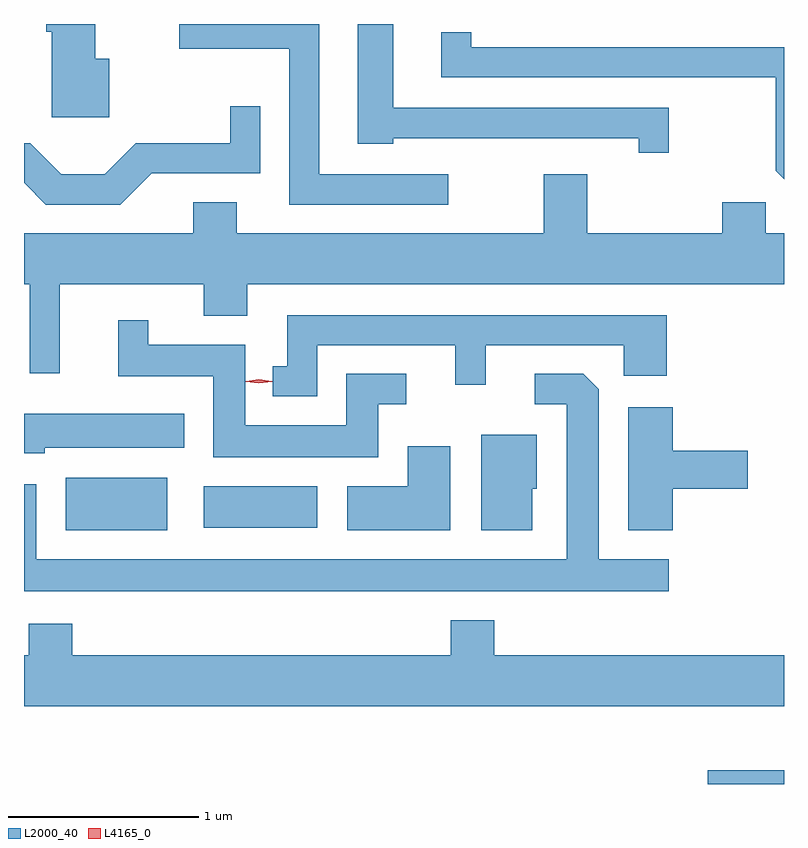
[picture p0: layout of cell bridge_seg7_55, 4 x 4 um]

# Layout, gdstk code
import gdstk
lib = gdstk.Library(unit=1e-6, precision=1e-09)
def R(c, l, rs):  # rectangles x0, y0, x1, y1
    for r in rs: c.add(gdstk.rectangle(r[:2], r[2:], *l))
def P(c, l, *ps):  # polygons
    for p in ps: c.add(gdstk.Polygon(p, *l))
L2000_40 = (2000, 40)
L4165_0 = (4165, 0)

bridge_seg7_55 = lib.new_cell('bridge_seg7_55')
R(bridge_seg7_55, L2000_40, [(1600.963,1751.646,1601.365,1751.719), (1597.586,1752.981,1598.119,1753.259), (1598.311,1752.996,1598.909,1753.214)])
P(bridge_seg7_55, L2000_40, [(1599.598,1754.854),(1598.919,1754.854),(1598.919,1755.646),(1598.181,1755.646),(1598.181,1755.516),(1598.761,1755.516),(1598.761,1754.696),(1599.598,1754.696)],
  [(1597.814,1755.464),(1597.739,1755.464),(1597.739,1755.646),(1597.481,1755.646),(1597.481,1755.606),(1597.511,1755.606),(1597.511,1755.156),(1597.814,1755.156)],
  [(1600.759,1755.204),(1599.309,1755.204),(1599.309,1755.646),(1599.121,1755.646),(1599.121,1755.016),(1599.309,1755.016),(1599.309,1755.046),(1600.601,1755.046),(1600.601,1754.968),(1600.759,1754.968)],
  [(1601.365,1755.524),(1599.719,1755.524),(1599.719,1755.603),(1599.561,1755.603),(1599.561,1755.366),(1601.321,1755.366),(1601.321,1754.874),(1601.365,1754.83)],
  [(1598.037,1754.861),(1598.609,1754.861),(1598.609,1755.213),(1598.451,1755.213),(1598.451,1755.019),(1597.954,1755.019),(1597.789,1754.854),(1597.562,1754.854),(1597.397,1755.019),(1597.365,1755.019),(1597.365,1754.81),(1597.479,1754.696),(1597.872,1754.696)],
  [(1601.365,1754.544),(1601.269,1754.544),(1601.269,1754.709),(1601.041,1754.709),(1601.041,1754.544),(1600.329,1754.544),(1600.329,1754.854),(1600.101,1754.854),(1600.101,1754.544),(1598.484,1754.544),(1598.484,1754.709),(1598.256,1754.709),(1598.256,1754.544),(1597.365,1754.544),(1597.365,1754.276),(1597.396,1754.276),(1597.396,1753.808),(1597.554,1753.808),(1597.554,1754.276),(1598.311,1754.276),(1598.311,1754.111),(1598.539,1754.111),(1598.539,1754.276),(1601.365,1754.276)],
  [(1598.909,1753.956),(1599.636,1753.956),(1599.636,1753.748),(1599.794,1753.748),(1599.794,1753.956),(1600.521,1753.956),(1600.521,1753.796),(1600.749,1753.796),(1600.749,1754.114),(1598.751,1754.114),(1598.751,1753.844),(1598.673,1753.844),(1598.673,1753.686),(1598.909,1753.686)],
  [(1599.229,1753.646),(1599.378,1753.646),(1599.378,1753.804),(1599.061,1753.804),(1599.061,1753.534),(1598.529,1753.534),(1598.529,1753.959),(1598.019,1753.959),(1598.019,1754.088),(1597.861,1754.088),(1597.861,1753.791),(1598.361,1753.791),(1598.361,1753.366),(1599.229,1753.366)],
  [(1600.758,1752.829),(1600.389,1752.829),(1600.389,1753.724),(1600.309,1753.804),(1600.053,1753.804),(1600.053,1753.646),(1600.221,1753.646),(1600.221,1752.829),(1597.429,1752.829),(1597.429,1753.224),(1597.365,1753.224),(1597.365,1752.661),(1600.758,1752.661)],
  [(1600.779,1753.201),(1601.174,1753.201),(1601.174,1753.399),(1600.779,1753.399),(1600.779,1753.629),(1600.546,1753.629),(1600.546,1752.981),(1600.779,1752.981)],
  [(1597.474,1753.416),(1598.209,1753.416),(1598.209,1753.594),(1597.365,1753.594),(1597.365,1753.386),(1597.474,1753.386)],
  [(1600.039,1753.201),(1600.064,1753.201),(1600.064,1753.484),(1599.771,1753.484),(1599.771,1752.981),(1600.039,1752.981)],
  [(1599.609,1753.424),(1599.386,1753.424),(1599.386,1753.214),(1599.066,1753.214),(1599.066,1752.981),(1599.609,1752.981)],
  [(1601.365,1752.324),(1599.839,1752.324),(1599.839,1752.509),(1599.611,1752.509),(1599.611,1752.324),(1597.619,1752.324),(1597.619,1752.489),(1597.391,1752.489),(1597.391,1752.324),(1597.365,1752.324),(1597.365,1752.056),(1601.365,1752.056)])
P(bridge_seg7_55, L4165_0, [(1598.601,1753.755),(1598.532,1753.764),(1598.532,1753.765),(1598.532,1753.765),(1598.601,1753.775),(1598.671,1753.765),(1598.671,1753.765),(1598.671,1753.764)])

lib.write_gds('bridge_seg7_55.gds')
